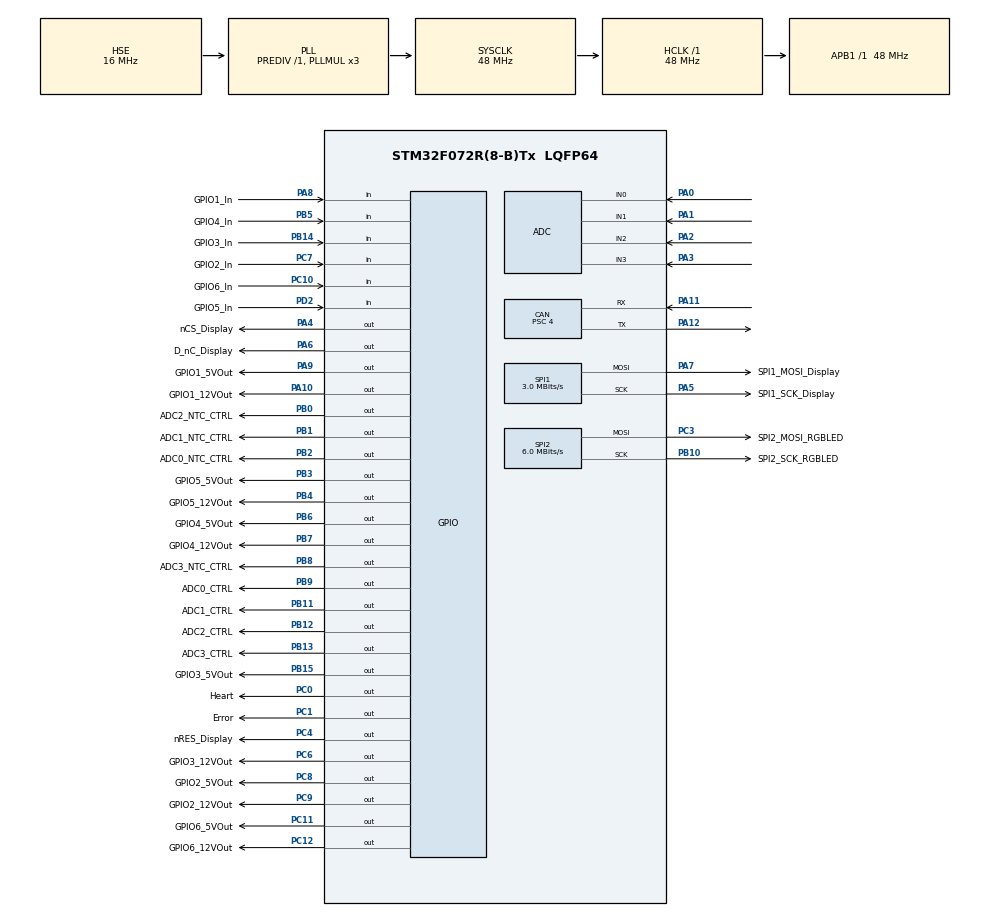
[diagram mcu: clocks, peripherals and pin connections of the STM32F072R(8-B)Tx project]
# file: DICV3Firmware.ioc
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ADC.ClockPrescaler=ADC_CLOCK_SYNC_PCLK_DIV4
ADC.ContinuousConvMode=ENABLE
ADC.DMAContinuousRequests=ENABLE
ADC.Overrun=ADC_OVR_DATA_OVERWRITTEN
ADC.SamplingTime=ADC_SAMPLETIME_239CYCLES_5
CAN.BS1=CAN_BS1_6TQ
CAN.BS2=CAN_BS2_5TQ
CAN.CalculateBaudRate=1000000
CAN.CalculateTimeBit=1000
CAN.CalculateTimeQuantum=83.33333333333333
CAN.Prescaler=4
Dma.ADC.0.Direction=DMA_PERIPH_TO_MEMORY
Dma.ADC.0.Instance=DMA1_Channel1
Dma.ADC.0.MemDataAlignment=DMA_MDATAALIGN_HALFWORD
Dma.ADC.0.MemInc=DMA_MINC_ENABLE
Dma.ADC.0.Mode=DMA_CIRCULAR
Dma.ADC.0.PeriphDataAlignment=DMA_PDATAALIGN_HALFWORD
Dma.ADC.0.PeriphInc=DMA_PINC_DISABLE
Dma.ADC.0.Priority=DMA_PRIORITY_LOW
Dma.Request0=ADC
Mcu.Family=STM32F0
Mcu.Name=STM32F072R(8-B)Tx
Mcu.Package=LQFP64
NVIC.ADC1_COMP_IRQn=true\:0\:0\:false\:false\:true\:true\:true\:true
NVIC.CEC_CAN_IRQn=true\:0\:0\:false\:false\:true\:false\:true\:true
NVIC.DMA1_Channel1_IRQn=true\:0\:0\:false\:false\:true\:false\:true\:true
NVIC.SPI1_IRQn=true\:0\:0\:false\:false\:true\:true\:true\:true
NVIC.SPI2_IRQn=true\:0\:0\:false\:false\:true\:true\:true\:true
PA0.Mode=IN0
PA0.Signal=ADC_IN0
PA1.Mode=IN1
PA1.Signal=ADC_IN1
PA10.GPIO_Label=GPIO1_12VOut
PA10.Signal=GPIO_Output
PA11.Mode=CAN_Activate
PA11.Signal=CAN_RX
PA12.Mode=CAN_Activate
PA12.Signal=CAN_TX
PA13.Mode=Serial_Wire
PA13.Signal=SYS_SWDIO
PA14.Mode=Serial_Wire
PA14.Signal=SYS_SWCLK
PA2.Mode=IN2
PA2.Signal=ADC_IN2
PA3.Mode=IN3
PA3.Signal=ADC_IN3
PA4.GPIO_Label=nCS_Display
PA4.GPIO_Speed=GPIO_SPEED_FREQ_HIGH
PA4.Signal=GPIO_Output
PA5.GPIO_Label=SPI1_SCK_Display
PA5.Mode=TX_Only_Simplex_Unidirect_Master
PA5.Signal=SPI1_SCK
PA6.GPIO_Label=D_nC_Display
PA6.GPIO_Speed=GPIO_SPEED_FREQ_HIGH
PA6.Signal=GPIO_Output
PA7.GPIO_Label=SPI1_MOSI_Display
PA7.Mode=TX_Only_Simplex_Unidirect_Master
PA7.Signal=SPI1_MOSI
PA8.GPIO_Label=GPIO1_In
PA8.Signal=GPIO_Input
PA9.GPIO_Label=GPIO1_5VOut
PA9.Signal=GPIO_Output
PB0.GPIO_Label=ADC2_NTC_CTRL
PB0.Signal=GPIO_Output
PB1.GPIO_Label=ADC1_NTC_CTRL
PB1.Signal=GPIO_Output
PB10.GPIO_Label=SPI2_SCK_RGBLED
PB10.GPIO_Speed=GPIO_SPEED_FREQ_LOW
PB10.Mode=TX_Only_Simplex_Unidirect_Master
PB10.Signal=SPI2_SCK
PB11.GPIO_Label=ADC1_CTRL
PB11.Signal=GPIO_Output
PB12.GPIO_Label=ADC2_CTRL
PB12.Signal=GPIO_Output
PB13.GPIO_Label=ADC3_CTRL
PB13.Signal=GPIO_Output
PB14.GPIO_Label=GPIO3_In
PB14.Signal=GPIO_Input
PB15.GPIO_Label=GPIO3_5VOut
PB15.Signal=GPIO_Output
PB2.GPIO_Label=ADC0_NTC_CTRL
PB2.Signal=GPIO_Output
PB3.GPIO_Label=GPIO5_5VOut
PB3.Signal=GPIO_Output
PB4.GPIO_Label=GPIO5_12VOut
PB4.Signal=GPIO_Output
PB5.GPIO_Label=GPIO4_In
PB5.Signal=GPIO_Input
PB6.GPIO_Label=GPIO4_5VOut
PB6.Signal=GPIO_Output
PB7.GPIO_Label=GPIO4_12VOut
PB7.Signal=GPIO_Output
PB8.GPIO_Label=ADC3_NTC_CTRL
PB8.Signal=GPIO_Output
PB9.GPIO_Label=ADC0_CTRL
PB9.Signal=GPIO_Output
PC0.GPIO_Label=Heart
PC0.Signal=GPIO_Output
PC1.GPIO_Label=Error
PC1.Signal=GPIO_Output
PC10.GPIO_Label=GPIO6_In
PC10.Signal=GPIO_Input
PC11.GPIO_Label=GPIO6_5VOut
PC11.Signal=GPIO_Output
PC12.GPIO_Label=GPIO6_12VOut
PC12.Signal=GPIO_Output
PC3.GPIO_Label=SPI2_MOSI_RGBLED
PC3.GPIO_Speed=GPIO_SPEED_FREQ_LOW
PC3.Mode=TX_Only_Simplex_Unidirect_Master
PC3.Signal=SPI2_MOSI
PC4.GPIO_Label=nRES_Display
PC4.GPIO_Speed=GPIO_SPEED_FREQ_HIGH
PC4.Signal=GPIO_Output
PC6.GPIO_Label=GPIO3_12VOut
PC6.Signal=GPIO_Output
PC7.GPIO_Label=GPIO2_In
PC7.Signal=GPIO_Input
PC8.GPIO_Label=GPIO2_5VOut
PC8.Signal=GPIO_Output
PC9.GPIO_Label=GPIO2_12VOut
PC9.Signal=GPIO_Output
PD2.GPIO_Label=GPIO5_In
PD2.Signal=GPIO_Input
PF0-OSC_IN.Mode=HSE-External-Oscillator
PF0-OSC_IN.Signal=RCC_OSC_IN
PF1-OSC_OUT.Mode=HSE-External-Oscillator
PF1-OSC_OUT.Signal=RCC_OSC_OUT
ProjectManager.HeapSize=0x200
ProjectManager.StackSize=0x400
ProjectManager.TargetToolchain=STM32CubeIDE
RCC.AHBFreq_Value=48000000
RCC.APB1Freq_Value=48000000
RCC.APB1TimFreq_Value=48000000
RCC.HCLKFreq_Value=48000000
RCC.HSE_VALUE=16000000
RCC.PLLMUL=RCC_PLL_MUL3
RCC.PLLSourceVirtual=RCC_PLLSOURCE_HSE
RCC.SYSCLKFreq_VALUE=48000000
RCC.SYSCLKSource=RCC_SYSCLKSOURCE_PLLCLK
SPI1.BaudRatePrescaler=SPI_BAUDRATEPRESCALER_16
SPI1.CLKPhase=SPI_PHASE_2EDGE
SPI1.CLKPolarity=SPI_POLARITY_HIGH
SPI1.CalculateBaudRate=3.0 MBits/s
SPI1.DataSize=SPI_DATASIZE_8BIT
SPI1.Direction=SPI_DIRECTION_2LINES
SPI1.Mode=SPI_MODE_MASTER
SPI1.VirtualType=VM_MASTER
SPI2.BaudRatePrescaler=SPI_BAUDRATEPRESCALER_8
SPI2.CalculateBaudRate=6.0 MBits/s
SPI2.DataSize=SPI_DATASIZE_8BIT
SPI2.Direction=SPI_DIRECTION_2LINES
SPI2.Mode=SPI_MODE_MASTER
SPI2.NSSPMode=SPI_NSS_PULSE_DISABLE
SPI2.VirtualType=VM_MASTER
TIM2.Prescaler=47
VP_TIM2_VS_ClockSourceINT.Mode=Internal
board=custom

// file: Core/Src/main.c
/* USER CODE BEGIN Header */
/**
  ******************************************************************************
  * @file           : main.c
  * @brief          : Main program body
  ******************************************************************************
  * @attention
  *
  * Copyright (c) 2025 STMicroelectronics.
  * All rights reserved.
  *
  * This software is licensed under terms that can be found in the LICENSE file
  * in the root directory of this software component.
  * If no LICENSE file comes with this software, it is provided AS-IS.
  *
  ******************************************************************************
  */
/* USER CODE END Header */
#include "main.h"

/* USER CODE BEGIN Includes */
#include "CAN.h"
#include "ERROR.h"
#include <stdio.h>
#include "ssd1306.h"
#include "ssd1306_fonts.h"
#include "RGBLED.h"
#include "LOOP_TIMER.h"
#include "ADC.h"
#include "RGBLED.h"
#include "DISPLAYFUN.h"
#include "BootLogo.h"
/* USER CODE END Includes */

ADC_HandleTypeDef hadc;
DMA_HandleTypeDef hdma_adc;

CAN_HandleTypeDef hcan;

SPI_HandleTypeDef hspi1;
SPI_HandleTypeDef hspi2;

TIM_HandleTypeDef htim2;

/* USER CODE BEGIN PV */
extern volatile unsigned long systime;
CAN_Message_t CANmsg;
/*
unsigned long time_old_10ms = 0;
uint8_t sys_10ms_cycle_cplt = 0;
unsigned long time_old_100ms = 0;
uint8_t sys_100ms_cycle_cplt = 0;
unsigned long time_old_200ms = 0;
uint8_t sys_200ms_cycle_cplt = 0;
*/
/* USER CODE END PV */

void SystemClock_Config(void);
static void MX_GPIO_Init(void);
static void MX_DMA_Init(void);
static void MX_CAN_Init(void);
static void MX_SPI1_Init(void);
static void MX_ADC_Init(void);
static void MX_SPI2_Init(void);
static void MX_TIM2_Init(void);

int main(void)
{

  /* MCU Configuration--------------------------------------------------------*/

  /* Reset of all peripherals, Initializes the Flash interface and the Systick. */
  HAL_Init();

  /* Configure the system clock */
  SystemClock_Config();

  /* Initialize all configured peripherals */
  MX_GPIO_Init();
  MX_DMA_Init();
  MX_CAN_Init();
  MX_SPI1_Init();
  MX_ADC_Init();
  MX_SPI2_Init();
  MX_TIM2_Init();
  /* USER CODE BEGIN 2 */
  HAL_ADCEx_Calibration_Start(&hadc);
  HAL_TIM_Base_Start(&htim2);
  RGBLED_Init();
  ADC_Init();

  CAN_RegisterRxCallback(RGBLED_HandleCAN);
  CAN_RegisterRxCallback(ADC_HandleCAN);
  CAN_RegisterRxCallback(DISP_HandleCAN);
  /* USER CODE END 2 */

  /* Infinite loop */
  /* USER CODE BEGIN WHILE */

/*
  ssd1306_Init();
  ssd1306_Fill(White);
  ssd1306_DrawPixel(2, 2, Black);
  ssd1306_DrawPixel(1, 1, Black);
  ssd1306_DrawPixel(0, 0, Black);
  ssd1306_UpdateScreen();
  ssd1306_Fill(Black);
  ssd1306_SetCursor(0, 0);
  ssd1306_WriteString("Hello World", Font_6x8, White);
  ssd1306_UpdateScreen();
*/

  DISP_Init();
  DISP_GoHome();

  HAL_GPIO_WritePin(GPIO1_12VOut_GPIO_Port,GPIO1_12VOut_Pin, GPIO_PIN_RESET);
  HAL_GPIO_WritePin(GPIO1_5VOut_GPIO_Port,GPIO1_5VOut_Pin, GPIO_PIN_RESET);

  HAL_GPIO_WritePin(ADC1_CTRL_GPIO_Port,ADC1_CTRL_Pin, GPIO_PIN_SET);
  HAL_GPIO_WritePin(ADC1_NTC_CTRL_GPIO_Port,ADC1_NTC_CTRL_Pin, GPIO_PIN_RESET);

  // Loops anlegen + 0-init
  loop_timer_t loop_1ms   = {0};
  loop_timer_t loop_10ms  = {0};
  loop_timer_t loop_100ms = {0};
  loop_timer_t loop_200ms = {0};

  void init_loops(void)
  {
      loop_init(&loop_1ms,   1,   NULL);
      loop_init(&loop_10ms,  10,  &loop_1ms);
      loop_init(&loop_100ms, 100, &loop_10ms);
      loop_init(&loop_200ms, 200, &loop_100ms);
  }

  init_loops();

  DISP_ShowBootLogoEx(boot_logo, BOOT_LOGO_W, BOOT_LOGO_H,
		  /*invert=*/false,
          /*xbm_row_major=*/false,
          /*xbm_msb_first=*/false);
  HAL_Delay(3000);

  while (1)
  {

	    uint32_t systime = HAL_GetTick();

	  	  // --- 1 ms Loop ---
	  	  if (loop_due(&loop_1ms, systime)) {
	  		  loop_start(&loop_1ms, systime);
	  		  // 1ms-Tasks hier
	  		  loop_end(&loop_1ms, ERROR_LOOP_OVERRUN_1MS);
	  	  }

	  	// --- 10 ms Loop ---
	  	    if (loop_due(&loop_10ms, systime)) {
	  	        loop_start(&loop_10ms, systime);

				// Senden der Loop usages
				// Nachricht vorbereiten
				CANmsg.id = 0x100;
				CANmsg.dlc = 8;
				CANmsg.data[0] = loop_1ms.max_prev_x10  & 0xFF; CANmsg.data[1] = loop_1ms.max_prev_x10  >> 8;
				CANmsg.data[2] = loop_10ms.max_prev_x10 & 0xFF; CANmsg.data[3] = loop_10ms.max_prev_x10 >> 8;
				CANmsg.data[4] = loop_100ms.max_prev_x10& 0xFF; CANmsg.data[5] = loop_100ms.max_prev_x10>> 8;
				CANmsg.data[6] = loop_200ms.max_prev_x10& 0xFF; CANmsg.data[7] = loop_200ms.max_prev_x10>> 8;

				if (CAN_QueueMessage(&CANmsg) != HAL_OK)
				{
				   Error_Register(ERROR_CAN_QUEUE_FULL);
				}

	  	        // ADC-Werte holen (gemittelt)
				uint16_t ch0 = ADC_GetAverage(0);
				uint16_t ch1 = ADC_GetAverage(1);
				uint16_t ch2 = ADC_GetAverage(2);
				uint16_t ch3 = ADC_GetAverage(3);

				// CAN-Nachricht vorbereiten
				CANmsg.id  = 0x101;   // frei wählen
				CANmsg.dlc = 8;
				CANmsg.data[0] = ch0 & 0xFF;
				CANmsg.data[1] = ch0 >> 8;
				CANmsg.data[2] = ch1 & 0xFF;
				CANmsg.data[3] = ch1 >> 8;
				CANmsg.data[4] = ch2 & 0xFF;
				CANmsg.data[5] = ch2 >> 8;
				CANmsg.data[6] = ch3 & 0xFF;
				CANmsg.data[7] = ch3 >> 8;

				if (CAN_QueueMessage(&CANmsg) != HAL_OK)
				{
				   Error_Register(ERROR_CAN_QUEUE_FULL);
				}

				RGBLED_TimeoutCheck(systime, &hspi2);

				DISP_Render();

	  	      loop_end(&loop_10ms, ERROR_LOOP_OVERRUN_10MS);
	  	    }

	  	    // --- 100 ms Loop ---
	  	    if (loop_due(&loop_100ms, systime)) {
	  	        loop_start(&loop_100ms, systime);

	  	      // Page 0 befüllen
	  	      DISP_SetPage(0);
	  	      DISP_WriteLabel(0, 0, "Hello World");
	  	      DISP_WriteNumber(1234, 2, 6, 1, 0, "V");     // → "  12.34V" bei min_width=6
	  	      DISP_WriteLapTime(90567, 2, 0);              // → "1:30.567"

			  //RGBLED_TestPattern();
			  //RGBLED_Update(&hspi2);

			  CAN_Message_t* received = CAN_GetMessage(0x321);
			  uint16_t value = 0;

			  if (received && received->dlc >= 2) {
			      value = (uint16_t)received->data[0] | ((uint16_t)received->data[1] << 8);
			  } else {
			      Error_Register(ERROR_CAN_RX_EMPTY);
			  }

	  	      DISP_SetPage(0);
	  	      DISP_WriteNumber(value, 0, 6, 4, 0, "-");     // → "  12.34V" bei min_width=6
	  	      /*
			  ssd1306_SetCursor(0, 8);
			  ssd1306_WriteString(buffer, Font_6x8, White);
	  	      */
			  Display_ErrorStatus(0, 3, 0);

			  //ssd1306_UpdateScreen();

			  ADC_SendCurrentConfig();

			  loop_end(&loop_100ms, ERROR_LOOP_OVERRUN_100MS);
		}

			// --- 200 ms Loop ---
			if (loop_due(&loop_200ms, systime)) {
				loop_start(&loop_200ms, systime);

	  		  HAL_GPIO_TogglePin(Heart_GPIO_Port,Heart_Pin);
	  		  Error_LED_Update();  // LED-Steuerung hier

	  		loop_end(&loop_200ms, ERROR_LOOP_OVERRUN_200MS);
		}
    /* USER CODE END WHILE */

    /* USER CODE BEGIN 3 */

  // While(1) Klammer below
  }
  // Main Klammer below
  /* USER CODE END 3 */
}

void SystemClock_Config(void)
{
  RCC_OscInitTypeDef RCC_OscInitStruct = {0};
  RCC_ClkInitTypeDef RCC_ClkInitStruct = {0};

  /** Initializes the RCC Oscillators according to the specified parameters
  * in the RCC_OscInitTypeDef structure.
  */
  RCC_OscInitStruct.OscillatorType = RCC_OSCILLATORTYPE_HSE;
  RCC_OscInitStruct.HSEState = RCC_HSE_ON;
  RCC_OscInitStruct.PLL.PLLState = RCC_PLL_ON;
  RCC_OscInitStruct.PLL.PLLSource = RCC_PLLSOURCE_HSE;
  RCC_OscInitStruct.PLL.PLLMUL = RCC_PLL_MUL3;
  RCC_OscInitStruct.PLL.PREDIV = RCC_PREDIV_DIV1;
  if (HAL_RCC_OscConfig(&RCC_OscInitStruct) != HAL_OK)
  {
    Error_Handler();
  }

  /** Initializes the CPU, AHB and APB buses clocks
  */
  RCC_ClkInitStruct.ClockType = RCC_CLOCKTYPE_HCLK|RCC_CLOCKTYPE_SYSCLK
                              |RCC_CLOCKTYPE_PCLK1;
  RCC_ClkInitStruct.SYSCLKSource = RCC_SYSCLKSOURCE_PLLCLK;
  RCC_ClkInitStruct.AHBCLKDivider = RCC_SYSCLK_DIV1;
  RCC_ClkInitStruct.APB1CLKDivider = RCC_HCLK_DIV1;

  if (HAL_RCC_ClockConfig(&RCC_ClkInitStruct, FLASH_LATENCY_1) != HAL_OK)
  {
    Error_Handler();
  }
}

static void MX_ADC_Init(void)
{

  ADC_ChannelConfTypeDef sConfig = {0};

  /** Configure the global features of the ADC (Clock, Resolution, Data Alignment and number of conversion)
  */
  hadc.Instance = ADC1;
  hadc.Init.ClockPrescaler = ADC_CLOCK_SYNC_PCLK_DIV4;
  hadc.Init.Resolution = ADC_RESOLUTION_12B;
  hadc.Init.DataAlign = ADC_DATAALIGN_RIGHT;
  hadc.Init.ScanConvMode = ADC_SCAN_DIRECTION_FORWARD;
  hadc.Init.EOCSelection = ADC_EOC_SINGLE_CONV;
  hadc.Init.LowPowerAutoWait = DISABLE;
  hadc.Init.LowPowerAutoPowerOff = DISABLE;
  hadc.Init.ContinuousConvMode = ENABLE;
  hadc.Init.DiscontinuousConvMode = DISABLE;
  hadc.Init.ExternalTrigConv = ADC_SOFTWARE_START;
  hadc.Init.ExternalTrigConvEdge = ADC_EXTERNALTRIGCONVEDGE_NONE;
  hadc.Init.DMAContinuousRequests = ENABLE;
  hadc.Init.Overrun = ADC_OVR_DATA_OVERWRITTEN;
  if (HAL_ADC_Init(&hadc) != HAL_OK)
  {
    Error_Handler();
  }

  /** Configure for the selected ADC regular channel to be converted.
  */
  sConfig.Channel = ADC_CHANNEL_0;
  sConfig.Rank = ADC_RANK_CHANNEL_NUMBER;
  sConfig.SamplingTime = ADC_SAMPLETIME_239CYCLES_5;
  if (HAL_ADC_ConfigChannel(&hadc, &sConfig) != HAL_OK)
  {
    Error_Handler();
  }

  /** Configure for the selected ADC regular channel to be converted.
  */
  sConfig.Channel = ADC_CHANNEL_1;
  if (HAL_ADC_ConfigChannel(&hadc, &sConfig) != HAL_OK)
  {
    Error_Handler();
  }

  /** Configure for the selected ADC regular channel to be converted.
  */
  sConfig.Channel = ADC_CHANNEL_2;
  if (HAL_ADC_ConfigChannel(&hadc, &sConfig) != HAL_OK)
  {
    Error_Handler();
  }

  /** Configure for the selected ADC regular channel to be converted.
  */
  sConfig.Channel = ADC_CHANNEL_3;
  if (HAL_ADC_ConfigChannel(&hadc, &sConfig) != HAL_OK)
  {
    Error_Handler();
  }

}

static void MX_CAN_Init(void)
{

  hcan.Instance = CAN;
  hcan.Init.Prescaler = 4;
  hcan.Init.Mode = CAN_MODE_NORMAL;
  hcan.Init.SyncJumpWidth = CAN_SJW_1TQ;
  hcan.Init.TimeSeg1 = CAN_BS1_6TQ;
  hcan.Init.TimeSeg2 = CAN_BS2_5TQ;
  hcan.Init.TimeTriggeredMode = DISABLE;
  hcan.Init.AutoBusOff = DISABLE;
  hcan.Init.AutoWakeUp = DISABLE;
  hcan.Init.AutoRetransmission = DISABLE;
  hcan.Init.ReceiveFifoLocked = DISABLE;
  hcan.Init.TransmitFifoPriority = DISABLE;
  if (HAL_CAN_Init(&hcan) != HAL_OK)
  {
    Error_Handler();
  }
  /* USER CODE BEGIN CAN_Init 2 */
  CAN_Init();
  /* USER CODE END CAN_Init 2 */

}

static void MX_SPI1_Init(void)
{

  /* SPI1 parameter configuration*/
  hspi1.Instance = SPI1;
  hspi1.Init.Mode = SPI_MODE_MASTER;
  hspi1.Init.Direction = SPI_DIRECTION_2LINES;
  hspi1.Init.DataSize = SPI_DATASIZE_8BIT;
  hspi1.Init.CLKPolarity = SPI_POLARITY_HIGH;
  hspi1.Init.CLKPhase = SPI_PHASE_2EDGE;
  hspi1.Init.NSS = SPI_NSS_SOFT;
  hspi1.Init.BaudRatePrescaler = SPI_BAUDRATEPRESCALER_16;
  hspi1.Init.FirstBit = SPI_FIRSTBIT_MSB;
  hspi1.Init.TIMode = SPI_TIMODE_DISABLE;
  hspi1.Init.CRCCalculation = SPI_CRCCALCULATION_DISABLE;
  hspi1.Init.CRCPolynomial = 7;
  hspi1.Init.CRCLength = SPI_CRC_LENGTH_DATASIZE;
  hspi1.Init.NSSPMode = SPI_NSS_PULSE_DISABLE;
  if (HAL_SPI_Init(&hspi1) != HAL_OK)
  {
    Error_Handler();
  }

}

static void MX_SPI2_Init(void)
{

  /* SPI2 parameter configuration*/
  hspi2.Instance = SPI2;
  hspi2.Init.Mode = SPI_MODE_MASTER;
  hspi2.Init.Direction = SPI_DIRECTION_2LINES;
  hspi2.Init.DataSize = SPI_DATASIZE_8BIT;
  hspi2.Init.CLKPolarity = SPI_POLARITY_LOW;
  hspi2.Init.CLKPhase = SPI_PHASE_1EDGE;
  hspi2.Init.NSS = SPI_NSS_SOFT;
  hspi2.Init.BaudRatePrescaler = SPI_BAUDRATEPRESCALER_8;
  hspi2.Init.FirstBit = SPI_FIRSTBIT_MSB;
  hspi2.Init.TIMode = SPI_TIMODE_DISABLE;
  hspi2.Init.CRCCalculation = SPI_CRCCALCULATION_DISABLE;
  hspi2.Init.CRCPolynomial = 7;
  hspi2.Init.CRCLength = SPI_CRC_LENGTH_DATASIZE;
  hspi2.Init.NSSPMode = SPI_NSS_PULSE_DISABLE;
  if (HAL_SPI_Init(&hspi2) != HAL_OK)
  {
    Error_Handler();
  }

}

static void MX_TIM2_Init(void)
{

  TIM_ClockConfigTypeDef sClockSourceConfig = {0};
  TIM_MasterConfigTypeDef sMasterConfig = {0};

  htim2.Instance = TIM2;
  htim2.Init.Prescaler = 47;
  htim2.Init.CounterMode = TIM_COUNTERMODE_UP;
  htim2.Init.Period = 4294967295;
  htim2.Init.ClockDivision = TIM_CLOCKDIVISION_DIV1;
  htim2.Init.AutoReloadPreload = TIM_AUTORELOAD_PRELOAD_DISABLE;
  if (HAL_TIM_Base_Init(&htim2) != HAL_OK)
  {
    Error_Handler();
  }
  sClockSourceConfig.ClockSource = TIM_CLOCKSOURCE_INTERNAL;
  if (HAL_TIM_ConfigClockSource(&htim2, &sClockSourceConfig) != HAL_OK)
  {
    Error_Handler();
  }
  sMasterConfig.MasterOutputTrigger = TIM_TRGO_RESET;
  sMasterConfig.MasterSlaveMode = TIM_MASTERSLAVEMODE_DISABLE;
  if (HAL_TIMEx_MasterConfigSynchronization(&htim2, &sMasterConfig) != HAL_OK)
  {
    Error_Handler();
  }

}

static void MX_DMA_Init(void)
{

  /* DMA controller clock enable */
  __HAL_RCC_DMA1_CLK_ENABLE();

  /* DMA interrupt init */
  /* DMA1_Channel1_IRQn interrupt configuration */
  HAL_NVIC_SetPriority(DMA1_Channel1_IRQn, 0, 0);
  HAL_NVIC_EnableIRQ(DMA1_Channel1_IRQn);

}

static void MX_GPIO_Init(void)
{
  GPIO_InitTypeDef GPIO_InitStruct = {0};

  /* GPIO Ports Clock Enable */
  __HAL_RCC_GPIOF_CLK_ENABLE();
  __HAL_RCC_GPIOC_CLK_ENABLE();
  __HAL_RCC_GPIOA_CLK_ENABLE();
  __HAL_RCC_GPIOB_CLK_ENABLE();
  __HAL_RCC_GPIOD_CLK_ENABLE();

  /*Configure GPIO pin Output Level */
  HAL_GPIO_WritePin(GPIOC, Heart_Pin|Error_Pin|nRES_Display_Pin|GPIO3_12VOut_Pin
                          |GPIO2_5VOut_Pin|GPIO2_12VOut_Pin|GPIO6_5VOut_Pin|GPIO6_12VOut_Pin, GPIO_PIN_RESET);

  /*Configure GPIO pin Output Level */
  HAL_GPIO_WritePin(GPIOA, nCS_Display_Pin|D_nC_Display_Pin|GPIO1_5VOut_Pin|GPIO1_12VOut_Pin, GPIO_PIN_RESET);

  /*Configure GPIO pin Output Level */
  HAL_GPIO_WritePin(GPIOB, ADC2_NTC_CTRL_Pin|ADC1_NTC_CTRL_Pin|ADC0_NTC_CTRL_Pin|ADC1_CTRL_Pin
                          |ADC2_CTRL_Pin|ADC3_CTRL_Pin|GPIO3_5VOut_Pin|GPIO5_5VOut_Pin
                          |GPIO5_12VOut_Pin|GPIO4_5VOut_Pin|GPIO4_12VOut_Pin|ADC3_NTC_CTRL_Pin
                          |ADC0_CTRL_Pin, GPIO_PIN_RESET);

  /*Configure GPIO pins : Heart_Pin Error_Pin GPIO3_12VOut_Pin GPIO2_5VOut_Pin
                           GPIO2_12VOut_Pin GPIO6_5VOut_Pin GPIO6_12VOut_Pin */
  GPIO_InitStruct.Pin = Heart_Pin|Error_Pin|GPIO3_12VOut_Pin|GPIO2_5VOut_Pin
                          |GPIO2_12VOut_Pin|GPIO6_5VOut_Pin|GPIO6_12VOut_Pin;
  GPIO_InitStruct.Mode = GPIO_MODE_OUTPUT_PP;
  GPIO_InitStruct.Pull = GPIO_NOPULL;
  GPIO_InitStruct.Speed = GPIO_SPEED_FREQ_LOW;
  HAL_GPIO_Init(GPIOC, &GPIO_InitStruct);

  /*Configure GPIO pins : nCS_Display_Pin D_nC_Display_Pin */
  GPIO_InitStruct.Pin = nCS_Display_Pin|D_nC_Display_Pin;
  GPIO_InitStruct.Mode = GPIO_MODE_OUTPUT_PP;
  GPIO_InitStruct.Pull = GPIO_NOPULL;
  GPIO_InitStruct.Speed = GPIO_SPEED_FREQ_HIGH;
  HAL_GPIO_Init(GPIOA, &GPIO_InitStruct);

  /*Configure GPIO pin : nRES_Display_Pin */
  GPIO_InitStruct.Pin = nRES_Display_Pin;
  GPIO_InitStruct.Mode = GPIO_MODE_OUTPUT_PP;
  GPIO_InitStruct.Pull = GPIO_NOPULL;
  GPIO_InitStruct.Speed = GPIO_SPEED_FREQ_HIGH;
  HAL_GPIO_Init(nRES_Display_GPIO_Port, &GPIO_InitStruct);

  /*Configure GPIO pins : ADC2_NTC_CTRL_Pin ADC1_NTC_CTRL_Pin ADC0_NTC_CTRL_Pin ADC1_CTRL_Pin
                           ADC2_CTRL_Pin ADC3_CTRL_Pin GPIO3_5VOut_Pin GPIO5_5VOut_Pin
                           GPIO5_12VOut_Pin GPIO4_5VOut_Pin GPIO4_12VOut_Pin ADC3_NTC_CTRL_Pin
                           ADC0_CTRL_Pin */
  GPIO_InitStruct.Pin = ADC2_NTC_CTRL_Pin|ADC1_NTC_CTRL_Pin|ADC0_NTC_CTRL_Pin|ADC1_CTRL_Pin
                          |ADC2_CTRL_Pin|ADC3_CTRL_Pin|GPIO3_5VOut_Pin|GPIO5_5VOut_Pin
                          |GPIO5_12VOut_Pin|GPIO4_5VOut_Pin|GPIO4_12VOut_Pin|ADC3_NTC_CTRL_Pin
                          |ADC0_CTRL_Pin;
  GPIO_InitStruct.Mode = GPIO_MODE_OUTPUT_PP;
  GPIO_InitStruct.Pull = GPIO_NOPULL;
  GPIO_InitStruct.Speed = GPIO_SPEED_FREQ_LOW;
  HAL_GPIO_Init(GPIOB, &GPIO_InitStruct);

  /*Configure GPIO pins : GPIO3_In_Pin GPIO4_In_Pin */
  GPIO_InitStruct.Pin = GPIO3_In_Pin|GPIO4_In_Pin;
  GPIO_InitStruct.Mode = GPIO_MODE_INPUT;
  GPIO_InitStruct.Pull = GPIO_NOPULL;
  HAL_GPIO_Init(GPIOB, &GPIO_InitStruct);

  /*Configure GPIO pins : GPIO2_In_Pin GPIO6_In_Pin */
  GPIO_InitStruct.Pin = GPIO2_In_Pin|GPIO6_In_Pin;
  GPIO_InitStruct.Mode = GPIO_MODE_INPUT;
  GPIO_InitStruct.Pull = GPIO_NOPULL;
  HAL_GPIO_Init(GPIOC, &GPIO_InitStruct);

  /*Configure GPIO pin : GPIO1_In_Pin */
  GPIO_InitStruct.Pin = GPIO1_In_Pin;
  GPIO_InitStruct.Mode = GPIO_MODE_INPUT;
  GPIO_InitStruct.Pull = GPIO_NOPULL;
  HAL_GPIO_Init(GPIO1_In_GPIO_Port, &GPIO_InitStruct);

  /*Configure GPIO pins : GPIO1_5VOut_Pin GPIO1_12VOut_Pin */
  GPIO_InitStruct.Pin = GPIO1_5VOut_Pin|GPIO1_12VOut_Pin;
  GPIO_InitStruct.Mode = GPIO_MODE_OUTPUT_PP;
  GPIO_InitStruct.Pull = GPIO_NOPULL;
  GPIO_InitStruct.Speed = GPIO_SPEED_FREQ_LOW;
  HAL_GPIO_Init(GPIOA, &GPIO_InitStruct);

  /*Configure GPIO pin : GPIO5_In_Pin */
  GPIO_InitStruct.Pin = GPIO5_In_Pin;
  GPIO_InitStruct.Mode = GPIO_MODE_INPUT;
  GPIO_InitStruct.Pull = GPIO_NOPULL;
  HAL_GPIO_Init(GPIO5_In_GPIO_Port, &GPIO_InitStruct);

}

void Error_Handler(void)
{
  __disable_irq();
  while (1)
  {
  }
}
